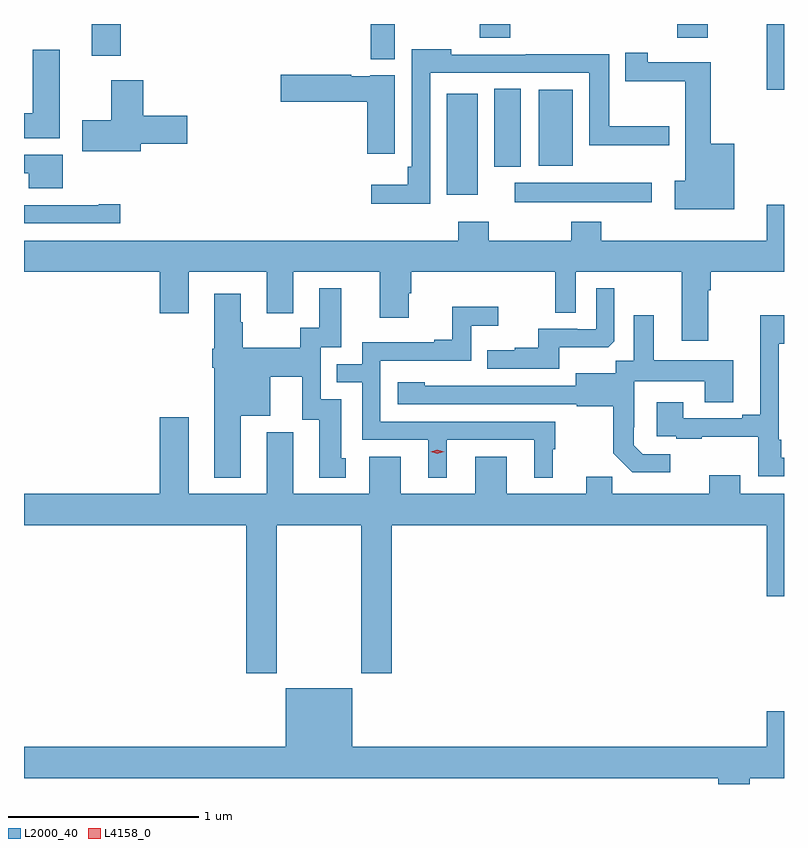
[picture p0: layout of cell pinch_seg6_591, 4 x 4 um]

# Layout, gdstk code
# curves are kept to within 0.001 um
import gdstk
lib = gdstk.Library(unit=1e-6, precision=1e-09)
def R(c, l, rs):  # rectangles x0, y0, x1, y1
    for r in rs: c.add(gdstk.rectangle(r[:2], r[2:], *l))
def P(c, l, *ps):  # polygons
    for p in ps: c.add(gdstk.Polygon(p, *l))
L2000_40 = (2000, 40)
L4158_0 = (4158, 0)

pinch_seg6_591 = lib.new_cell('pinch_seg6_591')
R(pinch_seg6_591, L2000_40, [(391.455,987.662,392.176,987.766), (391.097,987.702,391.258,988.234), (391.346,987.851,391.486,988.259), (391.58,987.854,391.759,988.255), (392.78,988.254,392.871,988.601), (390.695,988.415,390.823,988.601), (389.228,988.434,389.381,988.601), (391.27,988.529,391.43,988.601), (392.309,988.529,392.469,988.601)])
P(pinch_seg6_591, L2000_40, [(391.008,988.344),(391.847,988.344),(391.847,987.962),(392.266,987.962),(392.266,988.062),(391.951,988.062),(391.951,988.442),(391.513,988.442),(391.513,988.44),(391.119,988.44),(391.119,988.468),(390.912,988.468),(390.912,987.85),(390.892,987.85),(390.892,987.754),(390.699,987.754),(390.699,987.656),(391.008,987.656)],
  [(389.059,988.465),(388.916,988.465),(388.916,988.132),(388.871,988.132),(388.871,988.001),(389.059,988.001)],
  [(392.608,987.97),(392.486,987.97),(392.486,988.399),(392.154,988.399),(392.154,988.45),(392.036,988.45),(392.036,988.3),(392.351,988.3),(392.351,987.776),(392.295,987.776),(392.295,987.626),(392.608,987.626)],
  [(390.823,988.33),(390.693,988.33),(390.693,988.327),(390.593,988.327),(390.593,988.335),(390.222,988.335),(390.222,988.193),(390.677,988.193),(390.677,987.918),(390.823,987.918)],
  [(389.485,987.971),(389.731,987.971),(389.731,988.118),(389.498,988.118),(389.498,988.306),(389.33,988.306),(389.33,988.095),(389.178,988.095),(389.178,987.932),(389.485,987.932)],
  [(389.074,987.912),(388.871,987.912),(388.871,987.816),(388.895,987.816),(388.895,987.737),(389.074,987.737)],
  [(389.377,987.653),(389.264,987.653),(389.264,987.648),(388.871,987.648),(388.871,987.552),(389.377,987.552)],
  [(392.473,987.2),(392.486,987.2),(392.486,987.296),(392.871,987.296),(392.871,987.649),(392.78,987.649),(392.78,987.46),(391.91,987.46),(391.91,987.559),(391.75,987.559),(391.75,987.46),(391.317,987.46),(391.317,987.559),(391.157,987.559),(391.157,987.46),(388.871,987.46),(388.871,987.296),(389.585,987.296),(389.585,987.078),(389.737,987.078),(389.737,987.296),(390.149,987.296),(390.149,987.078),(390.289,987.078),(390.289,987.296),(390.743,987.296),(390.743,987.054),(390.895,987.054),(390.895,987.183),(390.908,987.183),(390.908,987.296),(391.668,987.296),(391.668,987.082),(391.776,987.082),(391.776,987.296),(392.333,987.296),(392.333,986.934),(392.473,986.934)],
  [(390.013,986.54),(390.166,986.54),(390.166,986.744),(390.336,986.744),(390.336,986.517),(390.425,986.517),(390.425,986.214),(390.565,986.214),(390.565,986.316),(390.541,986.316),(390.541,986.625),(390.432,986.625),(390.432,986.901),(390.541,986.901),(390.541,987.211),(390.425,987.211),(390.425,987.002),(390.324,987.002),(390.324,986.896),(390.021,986.896),(390.021,987.03),(390.013,987.03),(390.013,987.181),(389.873,987.181),(389.873,986.892),(389.861,986.892),(389.861,986.792),(389.873,986.792),(389.873,986.213),(390.013,986.213)],
  [(391.687,986.9),(391.945,986.9),(391.977,986.931),(391.977,987.211),(391.884,987.211),(391.884,986.994),(391.784,986.994),(391.784,986.997),(391.577,986.997),(391.577,986.896),(391.453,986.896),(391.453,986.884),(391.309,986.884),(391.309,986.787),(391.687,986.787)],
  [(391.096,986.412),(391.556,986.412),(391.556,986.213),(391.654,986.213),(391.654,986.364),(391.666,986.364),(391.666,986.508),(390.747,986.508),(390.747,986.829),(391.224,986.829),(391.224,987.014),(391.366,987.014),(391.366,987.113),(391.126,987.113),(391.126,986.938),(391.031,986.938),(391.031,986.925),(390.651,986.925),(390.651,986.811),(390.517,986.811),(390.517,986.715),(390.651,986.715),(390.651,986.412),(390.998,986.412),(390.998,986.213),(391.096,986.213)],
  [(392.272,986.337),(392.127,986.337),(392.08,986.384),(392.08,986.479),(392.082,986.479),(392.082,986.72),(392.453,986.72),(392.453,986.611),(392.605,986.611),(392.605,986.83),(392.185,986.83),(392.185,987.067),(392.081,987.067),(392.081,986.828),(391.986,986.828),(391.986,986.764),(391.775,986.764),(391.775,986.697),(390.981,986.698),(390.981,986.716),(390.837,986.716),(390.837,986.601),(391.779,986.601),(391.779,986.589),(391.971,986.589),(391.971,986.343),(392.071,986.243),(392.272,986.243)],
  [(392.871,986.317),(392.857,986.317),(392.857,986.413),(392.844,986.413),(392.844,986.918),(392.871,986.918),(392.871,987.067),(392.747,987.067),(392.747,986.545),(392.651,986.545),(392.651,986.526),(392.341,986.526),(392.341,986.611),(392.201,986.611),(392.201,986.43),(392.305,986.43),(392.305,986.418),(392.437,986.418),(392.437,986.429),(392.736,986.429),(392.736,986.22),(392.871,986.22)],
  [(390.201,985.964),(390.646,985.964),(390.646,985.185),(390.806,985.185),(390.806,985.964),(392.78,985.964),(392.78,985.59),(392.871,985.59),(392.871,986.128),(392.641,986.128),(392.641,986.227),(392.477,986.227),(392.477,986.128),(391.967,986.128),(391.967,986.219),(391.829,986.219),(391.829,986.128),(391.411,986.128),(391.411,986.323),(391.247,986.323),(391.247,986.128),(390.853,986.128),(390.853,986.323),(390.689,986.323),(390.689,986.128),(390.289,986.128),(390.289,986.452),(390.149,986.452),(390.149,986.128),(389.737,986.128),(389.737,986.53),(389.585,986.53),(389.585,986.128),(388.871,986.128),(388.871,985.964),(390.041,985.964),(390.041,985.185),(390.201,985.185)],
  [(392.69,984.632),(392.871,984.632),(392.871,984.985),(392.78,984.985),(392.78,984.796),(390.598,984.796),(390.598,985.105),(390.248,985.105),(390.248,984.796),(388.871,984.796),(388.871,984.632),(392.525,984.632),(392.525,984.601),(392.69,984.601)])
P(pinch_seg6_591, L4158_0, [(391.047,986.339),(391.011,986.349),(391.011,986.349),(391.011,986.349),(391.047,986.359),(391.083,986.349),(391.083,986.349),(391.083,986.349)])

lib.write_gds('pinch_seg6_591.gds')
